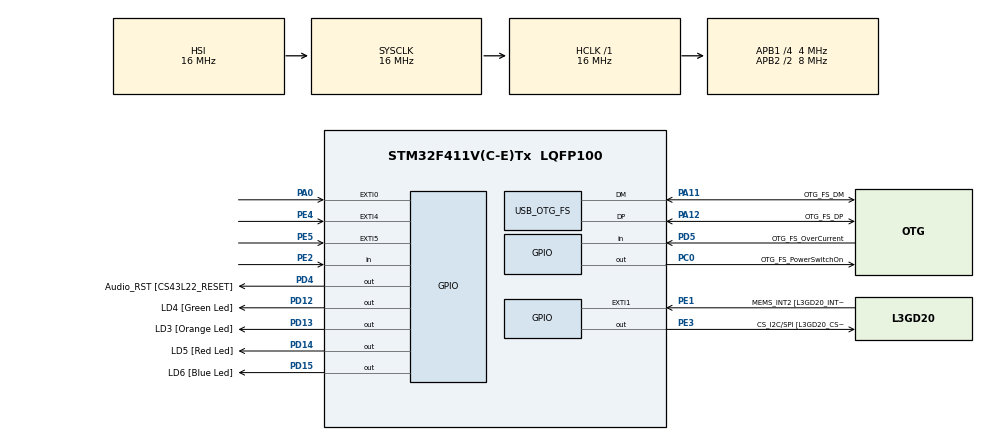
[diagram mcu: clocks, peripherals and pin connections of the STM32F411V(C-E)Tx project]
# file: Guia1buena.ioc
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FREERTOS.Tasks01=defaultTask,24,128,StartDefaultTask,Default,NULL,Dynamic,NULL,NULL
Mcu.Family=STM32F4
Mcu.Name=STM32F411V(C-E)Tx
Mcu.Package=LQFP100
NVIC.EXTI0_IRQn=true\:5\:0\:false\:false\:true\:true\:true\:true\:true
NVIC.OTG_FS_IRQn=true\:5\:0\:false\:false\:true\:true\:true\:true\:true
NVIC.PriorityGroup=NVIC_PRIORITYGROUP_4
NVIC.TIM5_IRQn=true\:15\:0\:false\:false\:true\:false\:false\:true\:true
NVIC.TimeBase=TIM5_IRQn
NVIC.TimeBaseIP=TIM5
PA0-WKUP.Signal=GPXTI0
PA10.GPIO_Label=OTG_FS_ID
PA10.Signal=USB_OTG_FS_ID
PA11.GPIO_Label=OTG_FS_DM
PA11.Mode=Device_Only
PA11.Signal=USB_OTG_FS_DM
PA12.GPIO_Label=OTG_FS_DP
PA12.Mode=Device_Only
PA12.Signal=USB_OTG_FS_DP
PA13.GPIO_Label=SWDIO
PA13.Mode=Serial_Wire
PA13.Signal=SYS_JTMS-SWDIO
PA14.GPIO_Label=SWCLK
PA14.Mode=Serial_Wire
PA14.Signal=SYS_JTCK-SWCLK
PA4.GPIO_Label=I2S3_WS [CS43L22_LRCK]
PA4.GPIO_Mode=GPIO_MODE_AF_PP
PA4.GPIO_PuPd=GPIO_NOPULL
PA4.GPIO_Speed=GPIO_SPEED_FREQ_LOW
PA4.Signal=I2S3_WS
PA5.GPIO_Label=SPI1_SCK [L3GD20_SC/SPC]
PA5.Signal=SPI1_SCK
PA6.GPIO_Label=SPI1_MISO [L3GD20_AS0/SDO]
PA6.Signal=SPI1_MISO
PA7.GPIO_Label=SPI1_MOSI [L3GD20_SDA/SDI/SDO]
PA7.Signal=SPI1_MOSI
PA9.GPIO_Label=VBUS_FS
PA9.Signal=USB_OTG_FS_VBUS
PB10.GPIO_Label=CLK_IN [MP45DT02_CLK]
PB10.Signal=I2S2_CK
PB12.Signal=I2S2_WS
PB3.GPIO_Label=SWO
PB3.Signal=SYS_JTDO-SWO
PB6.GPIO_Label=Audio_SCL [CS43L22_SCL]
PB6.GPIO_Mode=GPIO_MODE_AF_OD
PB6.GPIO_PuPd=GPIO_NOPULL
PB6.GPIO_Speed=GPIO_SPEED_FREQ_LOW
PB6.Signal=I2C1_SCL
PB9.GPIO_Label=Audio_SDA [CS43L22_SDA]
PB9.GPIO_Mode=GPIO_MODE_AF_OD
PB9.GPIO_PuPd=GPIO_NOPULL
PB9.GPIO_Speed=GPIO_SPEED_FREQ_LOW
PB9.Signal=I2C1_SDA
PC0.GPIO_Label=OTG_FS_PowerSwitchOn
PC0.PinState=GPIO_PIN_SET
PC0.Signal=GPIO_Output
PC10.GPIO_Label=I2S3_SCK [CS43L22_SCLK]
PC10.GPIO_Mode=GPIO_MODE_AF_PP
PC10.GPIO_PuPd=GPIO_NOPULL
PC10.GPIO_Speed=GPIO_SPEED_FREQ_LOW
PC10.Signal=I2S3_CK
PC12.GPIO_Label=I2S3_SD [CS43L22_SDIN]
PC12.GPIO_Mode=GPIO_MODE_AF_PP
PC12.GPIO_PuPd=GPIO_NOPULL
PC12.GPIO_Speed=GPIO_SPEED_FREQ_LOW
PC12.Signal=I2S3_SD
PC14-OSC32_IN.GPIO_Label=PC14-OSC32_IN
PC14-OSC32_IN.Signal=RCC_OSC32_IN
PC15-OSC32_OUT.GPIO_Label=PC15-OSC32_OUT
PC15-OSC32_OUT.Signal=RCC_OSC32_OUT
PC3.GPIO_Label=PDM_OUT [MP45DT02_DOUT]
PC3.Signal=I2S2_SD
PC7.GPIO_Label=I2S3_MCK [CS43L22_MCLK]
PC7.GPIO_Mode=GPIO_MODE_AF_PP
PC7.GPIO_PuPd=GPIO_NOPULL
PC7.GPIO_Speed=GPIO_SPEED_FREQ_LOW
PC7.Signal=I2S3_MCK
PD12.GPIO_Label=LD4 [Green Led]
PD12.GPIO_PuPd=GPIO_NOPULL
PD12.GPIO_Speed=GPIO_SPEED_FREQ_LOW
PD12.Signal=GPIO_Output
PD13.GPIO_Label=LD3 [Orange Led]
PD13.GPIO_PuPd=GPIO_NOPULL
PD13.GPIO_Speed=GPIO_SPEED_FREQ_LOW
PD13.Signal=GPIO_Output
PD14.GPIO_Label=LD5 [Red Led]
PD14.GPIO_PuPd=GPIO_NOPULL
PD14.GPIO_Speed=GPIO_SPEED_FREQ_LOW
PD14.Signal=GPIO_Output
PD15.GPIO_Label=LD6 [Blue Led]
PD15.GPIO_PuPd=GPIO_NOPULL
PD15.GPIO_Speed=GPIO_SPEED_FREQ_LOW
PD15.Signal=GPIO_Output
PD4.GPIO_Label=Audio_RST [CS43L22_RESET]
PD4.Signal=GPIO_Output
PD5.GPIO_Label=OTG_FS_OverCurrent
PD5.Signal=GPIO_Input
PE1.GPIO_Label=MEMS_INT2 [L3GD20_INT2]
PE1.GPIO_ModeDefaultEXTI=GPIO_MODE_EVT_RISING
PE1.Signal=GPXTI1
PE2.Signal=GPIO_Input
PE3.GPIO_Label=CS_I2C/SPI [L3GD20_CS_I2C/SPI]
PE3.Signal=GPIO_Output
PE4.GPIO_ModeDefaultEXTI=GPIO_MODE_EVT_RISING
PE4.Signal=GPXTI4
PE5.GPIO_ModeDefaultEXTI=GPIO_MODE_EVT_RISING
PE5.Signal=GPXTI5
PH0\ -\ OSC_IN.GPIO_Label=PH0-OSC_IN
PH0\ -\ OSC_IN.Mode=HSE-External-Oscillator
PH0\ -\ OSC_IN.Signal=RCC_OSC_IN
PH1\ -\ OSC_OUT.GPIO_Label=PH1-OSC_OUT
PH1\ -\ OSC_OUT.Mode=HSE-External-Oscillator
PH1\ -\ OSC_OUT.Signal=RCC_OSC_OUT
ProjectManager.HeapSize=0x200
ProjectManager.StackSize=0x400
ProjectManager.TargetToolchain=STM32CubeIDE
RCC.48MHZClocksFreq_Value=48000000
RCC.AHBFreq_Value=16000000
RCC.APB1CLKDivider=RCC_HCLK_DIV4
RCC.APB1Freq_Value=4000000
RCC.APB1TimFreq_Value=8000000
RCC.APB2CLKDivider=RCC_HCLK_DIV2
RCC.APB2Freq_Value=8000000
RCC.APB2TimFreq_Value=16000000
RCC.CortexFreq_Value=16000000
RCC.HCLKFreq_Value=16000000
RCC.HSE_VALUE=8000000
RCC.HSI_VALUE=16000000
RCC.LSE_VALUE=32768
RCC.PLLI2SM=5
RCC.PLLI2SN=200
RCC.PLLM=4
RCC.PLLN=72
RCC.PLLP=RCC_PLLP_DIV4
RCC.PLLQ=3
RCC.SYSCLKFreq_VALUE=16000000
RCC.VCOOutputFreq_Value=144000000
USB_DEVICE.CLASS_NAME_FS=CDC
USB_DEVICE.VirtualMode=Cdc
USB_DEVICE.VirtualModeFS=Cdc_FS
USB_OTG_FS.VirtualMode=Device_Only
VP_FREERTOS_VS_CMSIS_V2.Mode=CMSIS_V2
VP_SYS_VS_tim5.Mode=TIM5
VP_USB_DEVICE_VS_USB_DEVICE_CDC_FS.Mode=CDC_FS
board=STM32F411E-DISCO

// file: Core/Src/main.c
/* USER CODE BEGIN Header */
/**
  ******************************************************************************
  * @file           : main.c
  * @brief          : Main program body
  ******************************************************************************
  * @attention
  *
  * Copyright (c) 2026 STMicroelectronics.
  * All rights reserved.
  *
  * This software is licensed under terms that can be found in the LICENSE file
  * in the root directory of this software component.
  * If no LICENSE file comes with this software, it is provided AS-IS.
  *
  ******************************************************************************
  */
/* USER CODE END Header */
#include "main.h"
#include "cmsis_os.h"
#include "usb_device.h"
#include "semphr.h"       // <--- ¡Faltaba esta para los semáforos!
#include "usbd_cdc_if.h"

/* USER CODE BEGIN PTD */
typedef struct {
  uint32_t delay;
  GPIO_TypeDef* port;
  uint16_t pin;
  GPIO_TypeDef* btn_port;
  uint16_t btn_pin;
} TaskParams_t;

typedef enum {
  ENCENDER,
  APAGAR
} ord;

typedef struct {
  uint16_t led_pin;
  ord orden;
} instruc;

/* USER CODE END PTD */

/* Definitions for defaultTask */
osThreadId_t defaultTaskHandle;
const osThreadAttr_t defaultTask_attributes = {
  .name = "defaultTask",
  .stack_size = 128 * 4,
  .priority = (osPriority_t) osPriorityNormal,
};
/* USER CODE BEGIN PV */
TaskHandle_t xTareaAHandle = NULL;
TaskHandle_t xTareaBHandle = NULL;
SemaphoreHandle_t xUSB_Mutex = NULL;
/* USER CODE END PV */

void SystemClock_Config(void);
static void MX_GPIO_Init(void);
void StartDefaultTask(void *argument);

/* USER CODE BEGIN PFP */
void  vTaskA(void *pvParameters);
void  vTaskB(void *pvParameters);
/* USER CODE END PFP */

int main(void)
{

  /* MCU Configuration--------------------------------------------------------*/

  /* Reset of all peripherals, Initializes the Flash interface and the Systick. */
  HAL_Init();

  /* Configure the system clock */
  SystemClock_Config();

  /* Initialize all configured peripherals */
  MX_GPIO_Init();
  /* USER CODE BEGIN 2 */
  MX_USB_DEVICE_Init();

  // Creamos el Semáforo Contador: Máximo 10, arranca en 0 eventos pendientes
  xUSB_Mutex = xSemaphoreCreateMutex();
  xTaskCreate(vTaskA, "TareaA", 128, NULL, 1, &xTareaAHandle);
  xTaskCreate(vTaskB, "TareaB", 128, NULL, 1, &xTareaBHandle);

  vTaskStartScheduler();
  /* USER CODE END 2 */

  /* Init scheduler */
  //osKernelInitialize();

  /* Create the thread(s) */
  /* creation of defaultTask */
  defaultTaskHandle = osThreadNew(StartDefaultTask, NULL, &defaultTask_attributes);

  /* Start scheduler */
  osKernelStart();

  /* We should never get here as control is now taken by the scheduler */

  /* Infinite loop */
  while (1)
  {

  }
}

void SystemClock_Config(void)
{
  RCC_OscInitTypeDef RCC_OscInitStruct = {0};
  RCC_ClkInitTypeDef RCC_ClkInitStruct = {0};

  /** Configure the main internal regulator output voltage
  */
  __HAL_RCC_PWR_CLK_ENABLE();
  __HAL_PWR_VOLTAGESCALING_CONFIG(PWR_REGULATOR_VOLTAGE_SCALE1);

  /** Initializes the RCC Oscillators according to the specified parameters
  * in the RCC_OscInitTypeDef structure.
  */
  RCC_OscInitStruct.OscillatorType = RCC_OSCILLATORTYPE_HSI|RCC_OSCILLATORTYPE_HSE;
  RCC_OscInitStruct.HSEState = RCC_HSE_ON;
  RCC_OscInitStruct.HSIState = RCC_HSI_ON;
  RCC_OscInitStruct.HSICalibrationValue = RCC_HSICALIBRATION_DEFAULT;
  RCC_OscInitStruct.PLL.PLLState = RCC_PLL_ON;
  RCC_OscInitStruct.PLL.PLLSource = RCC_PLLSOURCE_HSE;
  RCC_OscInitStruct.PLL.PLLM = 4;
  RCC_OscInitStruct.PLL.PLLN = 72;
  RCC_OscInitStruct.PLL.PLLP = RCC_PLLP_DIV4;
  RCC_OscInitStruct.PLL.PLLQ = 3;
  if (HAL_RCC_OscConfig(&RCC_OscInitStruct) != HAL_OK)
  {
    Error_Handler();
  }

  /** Initializes the CPU, AHB and APB buses clocks
  */
  RCC_ClkInitStruct.ClockType = RCC_CLOCKTYPE_HCLK|RCC_CLOCKTYPE_SYSCLK
                              |RCC_CLOCKTYPE_PCLK1|RCC_CLOCKTYPE_PCLK2;
  RCC_ClkInitStruct.SYSCLKSource = RCC_SYSCLKSOURCE_HSI;
  RCC_ClkInitStruct.AHBCLKDivider = RCC_SYSCLK_DIV1;
  RCC_ClkInitStruct.APB1CLKDivider = RCC_HCLK_DIV4;
  RCC_ClkInitStruct.APB2CLKDivider = RCC_HCLK_DIV2;

  if (HAL_RCC_ClockConfig(&RCC_ClkInitStruct, FLASH_LATENCY_0) != HAL_OK)
  {
    Error_Handler();
  }
}

static void MX_GPIO_Init(void)
{
  GPIO_InitTypeDef GPIO_InitStruct = {0};

  /* GPIO Ports Clock Enable */
  __HAL_RCC_GPIOE_CLK_ENABLE();
  __HAL_RCC_GPIOC_CLK_ENABLE();
  __HAL_RCC_GPIOH_CLK_ENABLE();
  __HAL_RCC_GPIOA_CLK_ENABLE();
  __HAL_RCC_GPIOB_CLK_ENABLE();
  __HAL_RCC_GPIOD_CLK_ENABLE();

  /*Configure GPIO pin Output Level */
  HAL_GPIO_WritePin(CS_I2C_SPI_GPIO_Port, CS_I2C_SPI_Pin, GPIO_PIN_RESET);

  /*Configure GPIO pin Output Level */
  HAL_GPIO_WritePin(OTG_FS_PowerSwitchOn_GPIO_Port, OTG_FS_PowerSwitchOn_Pin, GPIO_PIN_SET);

  /*Configure GPIO pin Output Level */
  HAL_GPIO_WritePin(GPIOD, LD4_Pin|LD3_Pin|LD5_Pin|LD6_Pin
                          |Audio_RST_Pin, GPIO_PIN_RESET);

  /*Configure GPIO pin : PE2 */
  GPIO_InitStruct.Pin = GPIO_PIN_2;
  GPIO_InitStruct.Mode = GPIO_MODE_INPUT;
  GPIO_InitStruct.Pull = GPIO_NOPULL;
  HAL_GPIO_Init(GPIOE, &GPIO_InitStruct);

  /*Configure GPIO pin : CS_I2C_SPI_Pin */
  GPIO_InitStruct.Pin = CS_I2C_SPI_Pin;
  GPIO_InitStruct.Mode = GPIO_MODE_OUTPUT_PP;
  GPIO_InitStruct.Pull = GPIO_NOPULL;
  GPIO_InitStruct.Speed = GPIO_SPEED_FREQ_LOW;
  HAL_GPIO_Init(CS_I2C_SPI_GPIO_Port, &GPIO_InitStruct);

  /*Configure GPIO pins : PE4 PE5 MEMS_INT2_Pin */
  GPIO_InitStruct.Pin = GPIO_PIN_4|GPIO_PIN_5|MEMS_INT2_Pin;
  GPIO_InitStruct.Mode = GPIO_MODE_EVT_RISING;
  GPIO_InitStruct.Pull = GPIO_NOPULL;
  HAL_GPIO_Init(GPIOE, &GPIO_InitStruct);

  /*Configure GPIO pin : OTG_FS_PowerSwitchOn_Pin */
  GPIO_InitStruct.Pin = OTG_FS_PowerSwitchOn_Pin;
  GPIO_InitStruct.Mode = GPIO_MODE_OUTPUT_PP;
  GPIO_InitStruct.Pull = GPIO_NOPULL;
  GPIO_InitStruct.Speed = GPIO_SPEED_FREQ_LOW;
  HAL_GPIO_Init(OTG_FS_PowerSwitchOn_GPIO_Port, &GPIO_InitStruct);

  /*Configure GPIO pin : PDM_OUT_Pin */
  GPIO_InitStruct.Pin = PDM_OUT_Pin;
  GPIO_InitStruct.Mode = GPIO_MODE_AF_PP;
  GPIO_InitStruct.Pull = GPIO_NOPULL;
  GPIO_InitStruct.Speed = GPIO_SPEED_FREQ_LOW;
  GPIO_InitStruct.Alternate = GPIO_AF5_SPI2;
  HAL_GPIO_Init(PDM_OUT_GPIO_Port, &GPIO_InitStruct);

  /*Configure GPIO pin : PA0 */
  GPIO_InitStruct.Pin = GPIO_PIN_0;
  GPIO_InitStruct.Mode = GPIO_MODE_IT_RISING;
  GPIO_InitStruct.Pull = GPIO_NOPULL;
  HAL_GPIO_Init(GPIOA, &GPIO_InitStruct);

  /*Configure GPIO pin : I2S3_WS_Pin */
  GPIO_InitStruct.Pin = I2S3_WS_Pin;
  GPIO_InitStruct.Mode = GPIO_MODE_AF_PP;
  GPIO_InitStruct.Pull = GPIO_NOPULL;
  GPIO_InitStruct.Speed = GPIO_SPEED_FREQ_LOW;
  GPIO_InitStruct.Alternate = GPIO_AF6_SPI3;
  HAL_GPIO_Init(I2S3_WS_GPIO_Port, &GPIO_InitStruct);

  /*Configure GPIO pins : SPI1_SCK_Pin SPI1_MISO_Pin SPI1_MOSI_Pin */
  GPIO_InitStruct.Pin = SPI1_SCK_Pin|SPI1_MISO_Pin|SPI1_MOSI_Pin;
  GPIO_InitStruct.Mode = GPIO_MODE_AF_PP;
  GPIO_InitStruct.Pull = GPIO_NOPULL;
  GPIO_InitStruct.Speed = GPIO_SPEED_FREQ_VERY_HIGH;
  GPIO_InitStruct.Alternate = GPIO_AF5_SPI1;
  HAL_GPIO_Init(GPIOA, &GPIO_InitStruct);

  /*Configure GPIO pins : CLK_IN_Pin PB12 */
  GPIO_InitStruct.Pin = CLK_IN_Pin|GPIO_PIN_12;
  GPIO_InitStruct.Mode = GPIO_MODE_AF_PP;
  GPIO_InitStruct.Pull = GPIO_NOPULL;
  GPIO_InitStruct.Speed = GPIO_SPEED_FREQ_LOW;
  GPIO_InitStruct.Alternate = GPIO_AF5_SPI2;
  HAL_GPIO_Init(GPIOB, &GPIO_InitStruct);

  /*Configure GPIO pins : LD4_Pin LD3_Pin LD5_Pin LD6_Pin
                           Audio_RST_Pin */
  GPIO_InitStruct.Pin = LD4_Pin|LD3_Pin|LD5_Pin|LD6_Pin
                          |Audio_RST_Pin;
  GPIO_InitStruct.Mode = GPIO_MODE_OUTPUT_PP;
  GPIO_InitStruct.Pull = GPIO_NOPULL;
  GPIO_InitStruct.Speed = GPIO_SPEED_FREQ_LOW;
  HAL_GPIO_Init(GPIOD, &GPIO_InitStruct);

  /*Configure GPIO pins : I2S3_MCK_Pin I2S3_SCK_Pin I2S3_SD_Pin */
  GPIO_InitStruct.Pin = I2S3_MCK_Pin|I2S3_SCK_Pin|I2S3_SD_Pin;
  GPIO_InitStruct.Mode = GPIO_MODE_AF_PP;
  GPIO_InitStruct.Pull = GPIO_NOPULL;
  GPIO_InitStruct.Speed = GPIO_SPEED_FREQ_LOW;
  GPIO_InitStruct.Alternate = GPIO_AF6_SPI3;
  HAL_GPIO_Init(GPIOC, &GPIO_InitStruct);

  /*Configure GPIO pin : OTG_FS_OverCurrent_Pin */
  GPIO_InitStruct.Pin = OTG_FS_OverCurrent_Pin;
  GPIO_InitStruct.Mode = GPIO_MODE_INPUT;
  GPIO_InitStruct.Pull = GPIO_NOPULL;
  HAL_GPIO_Init(OTG_FS_OverCurrent_GPIO_Port, &GPIO_InitStruct);

  /*Configure GPIO pins : Audio_SCL_Pin Audio_SDA_Pin */
  GPIO_InitStruct.Pin = Audio_SCL_Pin|Audio_SDA_Pin;
  GPIO_InitStruct.Mode = GPIO_MODE_AF_OD;
  GPIO_InitStruct.Pull = GPIO_NOPULL;
  GPIO_InitStruct.Speed = GPIO_SPEED_FREQ_LOW;
  GPIO_InitStruct.Alternate = GPIO_AF4_I2C1;
  HAL_GPIO_Init(GPIOB, &GPIO_InitStruct);

  /* EXTI interrupt init*/
  HAL_NVIC_SetPriority(EXTI0_IRQn, 5, 0);
  HAL_NVIC_EnableIRQ(EXTI0_IRQn);

}

/* USER CODE BEGIN 4 */

void HAL_GPIO_EXTI_Callback(uint16_t GPIO_Pin)
{

}

void vTaskA(void *pvParameters)
{
    char mensajeA[] = "--- TAREA A EJECUTANDOSE ---\r\n";
    uint16_t lenA = sizeof(mensajeA) - 1;

    while(1)
    {
        // Forzamos la corrupción enviando carácter por carácter
    	if (xSemaphoreTake(xUSB_Mutex, portMAX_DELAY) == pdPASS) {
    		for(int i = 0; i < lenA; i++)
        	{
    			while (CDC_Transmit_FS((uint8_t*)&mensajeA[i], 1) != USBD_OK)
    			    			    {
    			    			        vTaskDelay(pdMS_TO_TICKS(1));
    			    			    }
        	}
        xSemaphoreGive(xUSB_Mutex);
        vTaskDelay(100);
    	}
    }
}

void vTaskB(void *pvParameters)
{
    char mensajeB[] = "*** TAREA B EJECUTANDOSE ***\r\n";
    uint16_t lenB = sizeof(mensajeB) - 1;

    while(1)
    {
    	if (xSemaphoreTake(xUSB_Mutex, portMAX_DELAY) == pdPASS) {
    		for(int i = 0; i < lenB; i++)
        	{
    			while (CDC_Transmit_FS((uint8_t*)&mensajeB[i], 1) != USBD_OK)
    			    {
    			        vTaskDelay(pdMS_TO_TICKS(1));
    			    }
        	}
    		xSemaphoreGive(xUSB_Mutex);
    		vTaskDelay(100);
    	}
    }
}

/* USER CODE END 4 */

void StartDefaultTask(void *argument)
{
  /* init code for USB_DEVICE */
  MX_USB_DEVICE_Init();
  for(;;)
  {
    osDelay(1);
  }
}

void HAL_TIM_PeriodElapsedCallback(TIM_HandleTypeDef *htim)
{
  if (htim->Instance == TIM5)
  {
    HAL_IncTick();
  }
}

void Error_Handler(void)
{
  __disable_irq();
  while (1)
  {
  }
}
